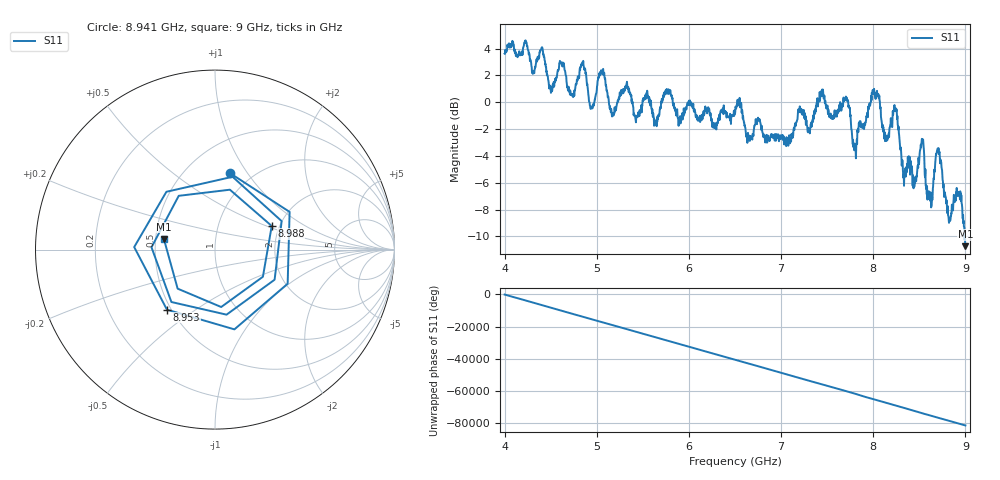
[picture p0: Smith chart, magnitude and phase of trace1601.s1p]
! Created with skrf 1.8.0 (http://scikit-rf.org).
# Hz S RI R 50.0
!freq ReS11 ImS11
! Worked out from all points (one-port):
!   1601 points, 4 GHz to 9 GHz, reference 50 ohm
!   lowest |S11| = -10.7 dB at 9 GHz (marker M1), VSWR 1.82, Z = 27.7 + j3.57 ohm
!   |S11| at or under -10 dB: 8.990171 GHz to 8.992911 GHz (2.74 MHz wide, 0.0305 % of centre); 8.994783 GHz to end of sweep
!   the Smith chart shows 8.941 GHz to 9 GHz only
!   S11 on the Smith chart (normalised r, x): 8.941 GHz: 0.79, +0.83; 8.953 GHz: 0.47, -0.39; 8.988 GHz: 1.82, +0.54; 9 GHz: 0.55, +0.07
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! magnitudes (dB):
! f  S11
! 4 GHz  3.6
! 4.403 GHz  4.1
! 4.506 GHz  1.1
! 4.625 GHz  2.7
! 4.731 GHz  0.5
! 4.856 GHz  2.8
! 4.944 GHz  -0.4
! 5.05 GHz  2.2
! 5.162 GHz  -0.9
! 5.25 GHz  0.7
! 5.875 GHz  -0.9
! 6.5 GHz  -0.9
! 7.125 GHz  -2.7
! 7.444 GHz  0.9
! 7.75 GHz  -1.0
! 7.8 GHz  -3.1
! 8.034 GHz  0.6
! 8.138 GHz  -2.6
! 8.238 GHz  -0.4
! 8.375 GHz  -4.1
! 8.528 GHz  -2.7
! 8.619 GHz  -7.3
! 8.706 GHz  -3.5
! 8.825 GHz  -8.9
! 8.941 GHz  -7.2
! 8.953 GHz  -7.4
! 8.988 GHz  -9.3
! 9 GHz  -10.7
